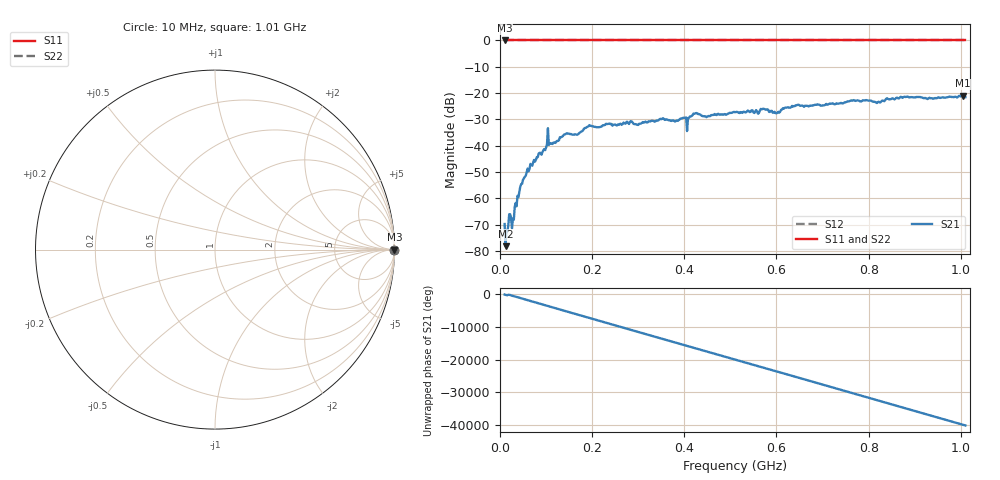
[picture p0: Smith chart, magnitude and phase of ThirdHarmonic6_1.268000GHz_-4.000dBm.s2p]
! 8/16/2025 1:41:21 PM
! C:\ANRITSUVNA\TEMP\TEMP.S2P
! CHANNEL.1
! TR.MEASUREMENT
! RAW.DATA
! RF.CORRECTION.OFF
! AVERAGING.OFF
! IF.BANDWIDTH: 5KHZ
! SWEEPTYPE:  FREQ.SWEEP(Linear)
! Reference Plane Port Info
! PORT:  PORT1  PORT2
! DISTANCE:  0  m  0  m
! TIME:  0  s  0  s
! PHASE.OFFSET:  0  deg.  0  deg.
! LOSS:  0  dB  0  dB
! REF.LOSS:  0  dB  0  dB
! REF.FREQ:  0  Hz  0  Hz
! Power Info
! POWER:  -20  dBm  -20  dBm
! EFF.POWER:  -20  dBm  -20  dBm
! SOURCE.ATTEN:  0  dB  0  dB
! TEST.ATTEN:  0  dB  0  dB
# GHZ S RI R 50.0
! FREQ.GHZ  S11RE  S11IM  S21RE  S21IM  S12RE  S12IM  S22RE  S22IM
!; PortSelection: Port_12
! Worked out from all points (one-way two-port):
!   501 points, 10 MHz to 1.01 GHz, reference 50 ohm
!   highest |S21| = -21.01 dB at 1.004 GHz (marker M1); lowest = -78.2 dB at 12 MHz (marker M2)
!   lowest |S11| = 0.0 dB at 10 MHz (marker M3)
!   |S11| at or under -10 dB: nowhere
!   |S22| runs from 0.0 to 0.0 dB; largest |S21 - S12| = 1.1
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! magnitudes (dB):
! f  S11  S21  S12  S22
! 10 MHz  0.0  -69.8  0.0  0.0
! 12 MHz  0.0  -78.2  0.0  0.0
! 16 MHz  0.0  -72.6  0.0  0.0
! 20 MHz  0.0  -66.1  0.0  0.0
! 28 MHz  0.0  -67.7  0.0  0.0
! 42 MHz  0.0  -57.6  0.0  0.0
! 56 MHz  0.0  -51.4  0.0  0.0
! 100 MHz  0.0  -40.7  0.0  0.0
! 178 MHz  0.0  -34.5  0.0  0.0
! 194 MHz  0.0  -32.2  0.0  0.0
! 344 MHz  0.0  -30.3  0.0  0.0
! 406 MHz  0.0  -34.5  0.0  0.0
! 424 MHz  0.0  -27.8  0.0  0.0
! 446 MHz  0.0  -28.9  0.0  0.0
! 510 MHz  0.0  -27.3  0.0  0.0
! 570 MHz  0.0  -26.1  0.0  0.0
! 602 MHz  0.0  -27.5  0.0  0.0
! 644 MHz  0.0  -24.6  0.0  0.0
! 678 MHz  0.0  -24.8  0.0  0.0
! 844 MHz  0.0  -22.4  0.0  0.0
! 1.004 GHz  0.0  -21.0  0.0  0.0
! 1.01 GHz  0.0  -21.6  0.0  0.0
